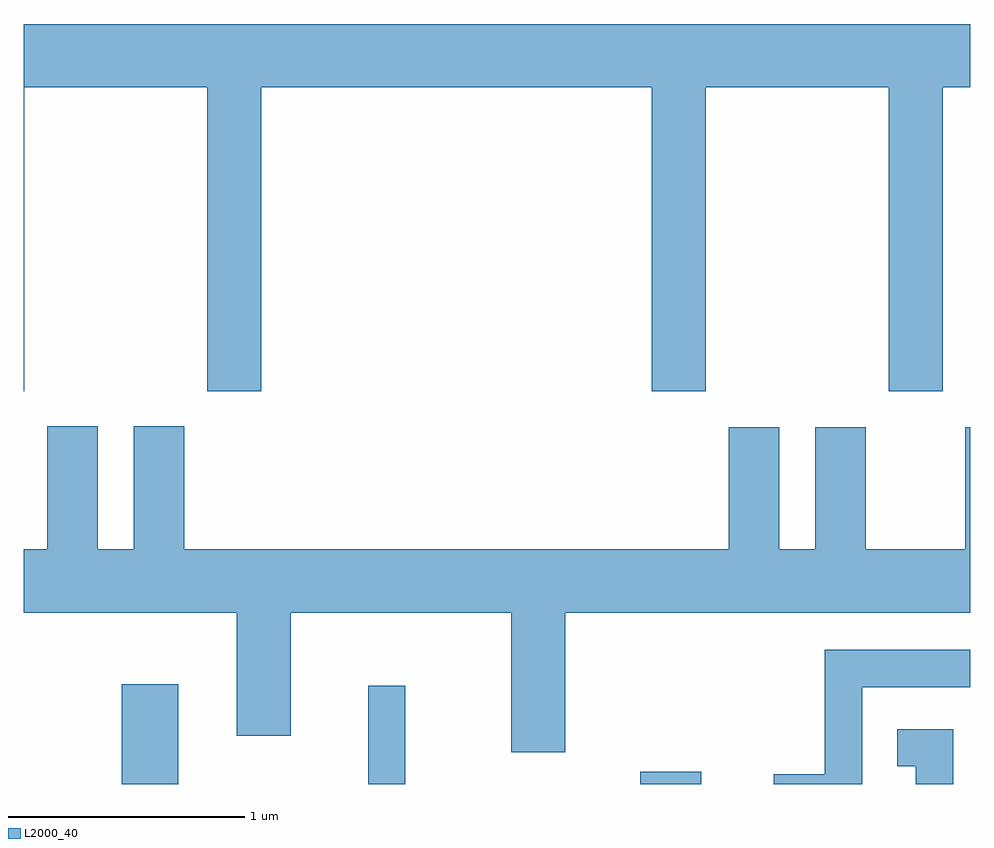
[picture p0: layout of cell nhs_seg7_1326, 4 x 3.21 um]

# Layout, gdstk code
import gdstk
lib = gdstk.Library(unit=1e-6, precision=1e-09)
def R(c, l, rs):  # rectangles x0, y0, x1, y1
    for r in rs: c.add(gdstk.rectangle(r[:2], r[2:], *l))
def P(c, l, *ps):  # polygons
    for p in ps: c.add(gdstk.Polygon(p, *l))
L2000_40 = (2000, 40)

nhs_seg7_1326 = lib.new_cell('nhs_seg7_1326')
R(nhs_seg7_1326, L2000_40, [(226.026,1720.252,226.264,1720.674), (227.066,1720.252,227.224,1720.668), (228.216,1720.252,228.474,1720.304)])
P(nhs_seg7_1326, L2000_40, [(225.611,1721.911),(225.614,1721.911),(225.614,1723.196),(226.386,1723.196),(226.386,1721.911),(226.614,1721.911),(226.614,1723.196),(228.266,1723.196),(228.266,1721.911),(228.494,1721.911),(228.494,1723.196),(229.266,1723.196),(229.266,1721.911),(229.494,1721.911),(229.494,1723.196),(229.611,1723.196),(229.611,1723.464),(225.611,1723.464)],
  [(229.611,1721.759),(229.591,1721.759),(229.591,1721.244),(229.169,1721.244),(229.169,1721.759),(228.956,1721.759),(228.956,1721.244),(228.804,1721.244),(228.804,1721.759),(228.591,1721.759),(228.591,1721.244),(226.289,1721.244),(226.289,1721.764),(226.076,1721.764),(226.076,1721.244),(225.924,1721.244),(225.924,1721.764),(225.711,1721.764),(225.711,1721.244),(225.611,1721.244),(225.611,1720.976),(226.511,1720.976),(226.511,1720.456),(226.739,1720.456),(226.739,1720.976),(227.671,1720.976),(227.671,1720.386),(227.899,1720.386),(227.899,1720.976),(229.611,1720.976)],
  [(229.154,1720.661),(229.611,1720.661),(229.611,1720.819),(228.996,1720.819),(228.996,1720.294),(228.781,1720.294),(228.781,1720.252),(229.154,1720.252)],
  [(229.539,1720.484),(229.303,1720.484),(229.303,1720.326),(229.381,1720.326),(229.381,1720.252),(229.539,1720.252)])

lib.write_gds('nhs_seg7_1326.gds')
